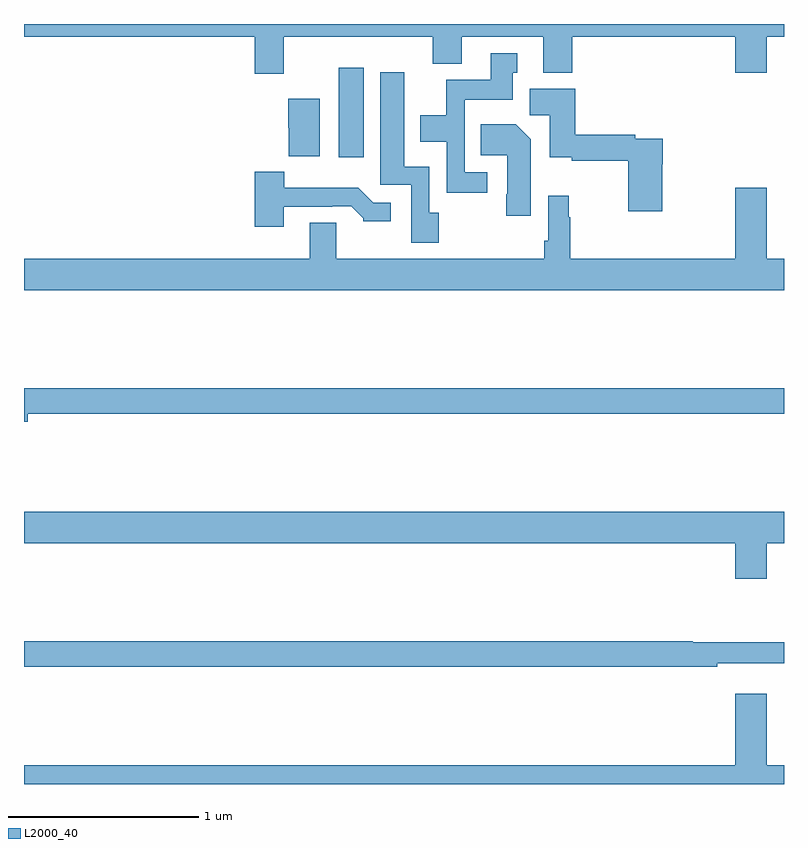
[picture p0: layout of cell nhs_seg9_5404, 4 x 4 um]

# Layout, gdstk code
import gdstk
lib = gdstk.Library(unit=1e-6, precision=1e-09)
def R(c, l, rs):  # rectangles x0, y0, x1, y1
    for r in rs: c.add(gdstk.rectangle(r[:2], r[2:], *l))
def P(c, l, *ps):  # polygons
    for p in ps: c.add(gdstk.Polygon(p, *l))
L2000_40 = (2000, 40)

nhs_seg9_5404 = lib.new_cell('nhs_seg9_5404')
R(nhs_seg9_5404, L2000_40, [(426.656,1183.8,426.787,1184.269)])
P(nhs_seg9_5404, L2000_40, [(426.367,1184.432),(427.151,1184.432),(427.151,1184.291),(427.303,1184.291),(427.303,1184.432),(427.733,1184.432),(427.733,1184.243),(427.886,1184.243),(427.886,1184.432),(428.744,1184.432),(428.744,1184.244),(428.908,1184.244),(428.908,1184.432),(429,1184.432),(429,1184.5),(425,1184.5),(425,1184.432),(426.215,1184.432),(426.215,1184.238),(426.367,1184.238)],
  [(427.438,1183.719),(427.32,1183.719),(427.32,1184.102),(427.573,1184.102),(427.573,1184.244),(427.597,1184.244),(427.597,1184.347),(427.457,1184.347),(427.457,1184.206),(427.222,1184.206),(427.222,1184.02),(427.085,1184.02),(427.085,1183.88),(427.224,1183.88),(427.224,1183.611),(427.438,1183.611)],
  [(427.182,1183.506),(427.134,1183.506),(427.134,1183.75),(427,1183.75),(427,1184.245),(426.875,1184.245),(426.875,1183.653),(427.038,1183.653),(427.038,1183.35),(427.182,1183.35)],
  [(428.358,1183.763),(428.363,1183.763),(428.363,1183.896),(428.216,1183.896),(428.216,1183.916),(427.901,1183.916),(427.901,1184.158),(427.661,1184.158),(427.661,1184.02),(427.766,1184.02),(427.766,1183.799),(427.882,1183.799),(427.882,1183.78),(428.18,1183.78),(428.18,1183.515),(428.358,1183.515)],
  [(426.556,1184.107),(426.392,1184.107),(426.392,1183.953),(426.394,1183.953),(426.394,1183.805),(426.556,1183.805)],
  [(427.666,1183.894),(427.588,1183.972),(427.405,1183.972),(427.405,1183.808),(427.544,1183.808),(427.544,1183.603),(427.537,1183.603),(427.537,1183.491),(427.666,1183.491)],
  [(426.367,1183.539),(426.623,1183.539),(426.623,1183.542),(426.722,1183.542),(426.786,1183.478),(426.786,1183.463),(426.931,1183.463),(426.931,1183.56),(426.837,1183.56),(426.759,1183.639),(426.37,1183.639),(426.37,1183.723),(426.215,1183.723),(426.215,1183.434),(426.367,1183.434)],
  [(429,1183.264),(428.908,1183.264),(428.908,1183.639),(428.744,1183.639),(428.744,1183.264),(427.874,1183.264),(427.874,1183.484),(427.867,1183.484),(427.867,1183.597),(427.758,1183.597),(427.758,1183.36),(427.738,1183.36),(427.738,1183.264),(426.643,1183.264),(426.643,1183.454),(426.503,1183.454),(426.503,1183.264),(425,1183.264),(425,1183.1),(429,1183.1)],
  [(425.02,1182.448),(429,1182.448),(429,1182.584),(425,1182.584),(425,1182.406),(425.02,1182.406)],
  [(428.908,1181.768),(429,1181.768),(429,1181.932),(425,1181.932),(425,1181.768),(428.744,1181.768),(428.744,1181.58),(428.908,1181.58)],
  [(428.648,1181.135),(429,1181.135),(429,1181.245),(428.519,1181.245),(428.519,1181.252),(425,1181.252),(425,1181.116),(428.648,1181.116)],
  [(429,1180.6),(428.908,1180.6),(428.908,1180.975),(428.744,1180.975),(428.744,1180.6),(425,1180.6),(425,1180.5),(429,1180.5)])

lib.write_gds('nhs_seg9_5404.gds')
